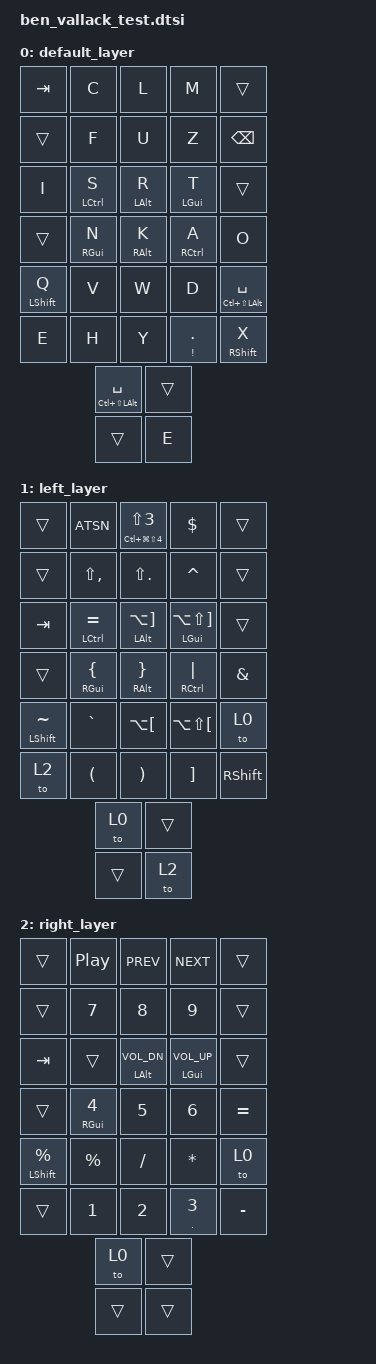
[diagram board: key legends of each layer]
#include <behaviors.dtsi>
#include <dt-bindings/zmk/keys.h>
#include <dt-bindings/zmk/bt.h>
#include <dt-bindings/zmk/outputs.h>

/ {
    behaviors {
        hm: homerow_mods {
            compatible = "zmk,behavior-hold-tap";
            label = "HOMEROW_MODS";
            #binding-cells = <2>;
            tapping-term-ms = <200>;
            quick_tap_ms = <0>;
            flavor = "tap-preferred";
            bindings = <&kp>, <&kp>;
        };
        hs: homerow_shifts {
            compatible = "zmk,behavior-hold-tap";
            label = "HOMEROW_SHIFTS";
            #binding-cells = <2>;
            tapping-term-ms = <150>;
            quick_tap_ms = <0>;
            flavor = "balanced";
            bindings = <&kp>, <&kp>;
        };
        td: tapdance {
            compatible = "zmk,behavior-hold-tap";
            label = "TAPDANCE";
            #binding-cells = <2>;
            tapping-term-ms = <150>;
            quick_tap_ms = <0>;
            flavor = "tap-preferred";
            bindings = <&kp>, <&kp>;
        };
    };

    keymap {
        compatible = "zmk,keymap";

        default_layer {
            bindings = <
                &kp TAB &kp C &kp L &kp M &trans
                &trans &kp F  &kp U    &kp Z  &kp BKSP
                &kp I &hm LCTL S &hm LALT R &hm LGUI T &trans
                &trans  &hm RGUI N &hm RALT K &hm RCTL A &kp O
                &hs LSHIFT Q &kp V &kp W &kp D &mt LC(LS(LALT)) SPC
                &kp E &kp H  &kp Y &td EXCL DOT &hs RSHIFT X
                                    &mt LC(LS(LALT)) SPC &trans
                                    &trans &kp E
            >;
        };

        left_layer {
            bindings = <
                &trans  &kp ATSN   &td LC(LG(LS(N4))) LS(N3) &kp DLLR &trans
                &trans &kp LS(COMMA) &kp LS(DOT) &kp CARET &trans
                &kp TAB &hm LCTL EQUAL &hm LALT LA(RBKT) &hm LGUI LA(LS(RBKT)) &trans
                &trans &hm RGUI LBRC &hm RALT RBRC &hm RCTL PIPE &kp AMPS
                &hs LSHIFT TILDE &kp GRAVE &kp LA(LBKT) &kp LA(LS(LBKT)) &to 0
                &to 2 &kp LPRN &kp RPRN &kp RBKT &kp RSHIFT
                                    &to 0 &trans
                                    &trans &to 2
            >;
        };

        right_layer {
            bindings = <
                &trans &kp C_PP &kp C_PREV &kp C_NEXT &trans
                &trans &kp N7 &kp N8 &kp N9 &trans
                &kp TAB &trans &hm LALT C_VOL_DN &hm LGUI C_VOL_UP &trans
                &trans &hm RGUI N4 &kp N5 &kp N6 &kp EQUAL
                &hs LSHIFT PRCNT &kp PRCNT &kp SLASH &kp STAR &to 0
                &trans &kp N1 &kp N2 &td DOT N3 &kp MINUS
                                    &to 0 &trans
                                    &trans &trans
            >;
        };
    };
}; 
